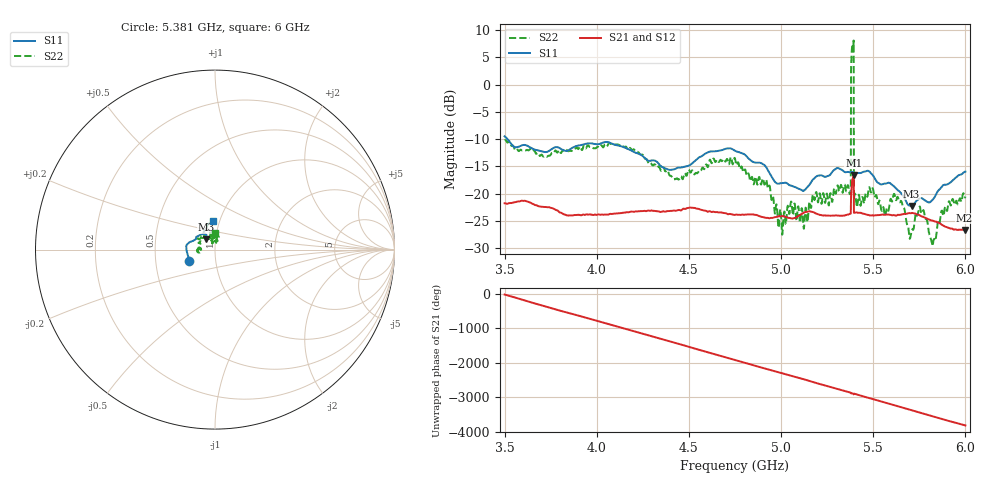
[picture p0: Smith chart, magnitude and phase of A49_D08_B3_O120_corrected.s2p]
! Created with skrf 1.9.0 (http://scikit-rf.org).
# Hz S RI R 50.0
!freq ReS11 ImS11 ReS21 ImS21 ReS12 ImS12 ReS22 ImS22
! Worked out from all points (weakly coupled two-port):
!   1601 points, 3.5 GHz to 6 GHz, reference 50 ohm
!   highest |S21| = -16.58 dB at 5.394 GHz (marker M1); lowest = -26.7 dB at 5.995 GHz (marker M2)
!   lowest |S11| = -22.3 dB at 5.708 GHz (marker M3), VSWR 1.17, Z = 44.9 + j5.23 ohm
!   |S11| at or under -10 dB: 3.515 GHz to end of sweep
!   |S22| runs from -29.7 to 8.1 dB; largest |S21 - S12| = 0.0018
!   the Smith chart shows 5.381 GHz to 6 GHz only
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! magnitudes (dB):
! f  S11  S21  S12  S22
! 3.5 GHz  -9.5  -21.8  -21.8  -10.2
! 3.917 GHz  -11.1  -24.0  -24.0  -11.9
! 4.334 GHz  -14.4  -23.3  -23.2  -15.0
! 4.434 GHz  -15.3  -23.1  -23.1  -17.2
! 4.75 GHz  -12.1  -23.9  -23.8  -13.6
! 4.928 GHz  -15.7  -24.5  -24.4  -19.0
! 4.997 GHz  -18.1  -24.2  -24.2  -23.0
! 5.047 GHz  -18.5  -24.5  -24.5  -23.4
! 5.133 GHz  -19.2  -23.4  -23.4  -22.6
! 5.167 GHz  -17.7  -23.4  -23.3  -21.4
! 5.366 GHz  -16.0  -23.8  -23.8  -18.7
! 5.381 GHz  -16.1  -19.6  -19.6  4.6
! 5.394 GHz  -16.2  -16.6  -16.6  8.1
! 5.408 GHz  -16.2  -23.4  -23.4  -21.7
! 5.584 GHz  -18.0  -23.9  -23.8  -22.9
! 5.642 GHz  -19.6  -23.9  -23.9  -21.6
! 5.708 GHz  -22.3  -23.6  -23.5  -27.0
! 5.761 GHz  -20.8  -24.2  -24.1  -23.6
! 5.828 GHz  -20.9  -25.1  -25.0  -28.5
! 5.88 GHz  -18.5  -25.9  -25.8  -24.1
! 5.995 GHz  -16.0  -26.7  -26.6  -20.5
! 6 GHz  -16.0  -26.7  -26.6  -20.5
